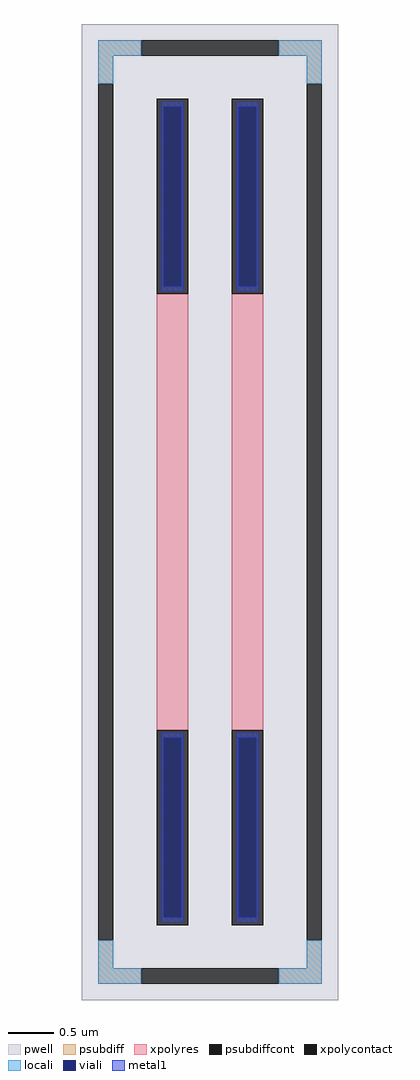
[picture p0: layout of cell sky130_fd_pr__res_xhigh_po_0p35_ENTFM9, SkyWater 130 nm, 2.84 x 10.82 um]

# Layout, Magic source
magic
tech sky130A
magscale 1 2
<< pwell >>
rect -284 -1082 284 1082
<< psubdiff >>
rect -248 1012 -152 1046
rect 152 1012 248 1046
rect -248 950 -214 1012
rect 214 950 248 1012
rect -248 -1012 -214 -950
rect 214 -1012 248 -950
rect -248 -1046 -152 -1012
rect 152 -1046 248 -1012
<< psubdiffcont >>
rect -152 1012 152 1046
rect -248 -950 -214 950
rect 214 -950 248 950
rect -152 -1046 152 -1012
<< xpolycontact >>
rect -118 484 -48 916
rect -118 -916 -48 -484
rect 48 484 118 916
rect 48 -916 118 -484
<< xpolyres >>
rect -118 -484 -48 484
rect 48 -484 118 484
<< locali >>
rect -248 1012 -152 1046
rect 152 1012 248 1046
rect -248 950 -214 1012
rect 214 950 248 1012
rect -248 -1012 -214 -950
rect 214 -1012 248 -950
rect -248 -1046 -152 -1012
rect 152 -1046 248 -1012
<< viali >>
rect -102 501 -64 898
rect 64 501 102 898
rect -102 -898 -64 -501
rect 64 -898 102 -501
<< metal1 >>
rect -108 898 -58 910
rect -108 501 -102 898
rect -64 501 -58 898
rect -108 489 -58 501
rect 58 898 108 910
rect 58 501 64 898
rect 102 501 108 898
rect 58 489 108 501
rect -108 -501 -58 -489
rect -108 -898 -102 -501
rect -64 -898 -58 -501
rect -108 -910 -58 -898
rect 58 -501 108 -489
rect 58 -898 64 -501
rect 102 -898 108 -501
rect 58 -910 108 -898
<< properties >>
string FIXED_BBOX -231 -1029 231 1029
string gencell sky130_fd_pr__res_xhigh_po_0p35
string library sky130
string parameters w 0.350 l 5.0 m 1 nx 2 wmin 0.350 lmin 0.50 rho 2000 val 29.646k dummy 0 dw 0.0 term 188.2 sterm 0.0 caplen 0 wmax 0.350 guard 1 glc 1 grc 1 gtc 1 gbc 1 compatible {sky130_fd_pr__res_xhigh_po_0p35  sky130_fd_pr__res_xhigh_po_0p69 sky130_fd_pr__res_xhigh_po_1p41  sky130_fd_pr__res_xhigh_po_2p85 sky130_fd_pr__res_xhigh_po_5p73} snake 0 full_metal 1 n_guard 0 hv_guard 0 vias 1 viagb 0 viagt 0 viagl 0 viagr 0
<< end >>
